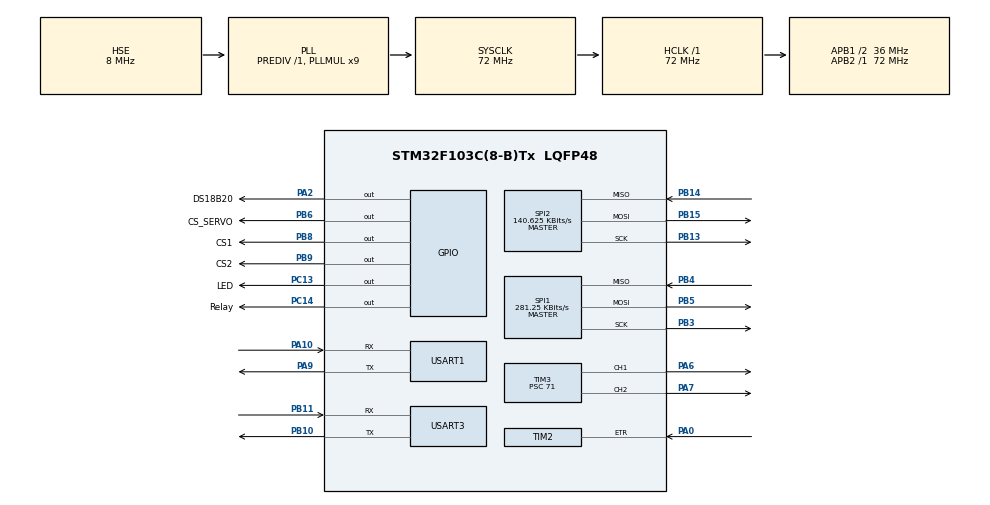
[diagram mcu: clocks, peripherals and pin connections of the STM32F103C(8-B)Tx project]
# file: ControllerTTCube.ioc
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FREERTOS.HEAP_NUMBER=1
FREERTOS.Tasks01=defaultTask,0,128,StartDefaultTask,Default,NULL,Dynamic,NULL,NULL;vHandlerTask,-2,256,Handler,Default,NULL,Dynamic,NULL,NULL;vTaskOpros,-2,512,Opros,Default,NULL,Dynamic,NULL,NULL;vTaskRasZasl,-2,128,Zasl,Default,NULL,Dynamic,NULL,NULL;vTaskVoda,-2,128,Voda,Default,NULL,Dynamic,NULL,NULL;vTaskTime,-2,128,Time,Default,NULL,Dynamic,NULL,NULL
FREERTOS.configTOTAL_HEAP_SIZE=10000
IWDG.Prescaler=IWDG_PRESCALER_64
Mcu.Family=STM32F1
Mcu.Name=STM32F103C(8-B)Tx
Mcu.Package=LQFP48
NVIC.PriorityGroup=NVIC_PRIORITYGROUP_4
NVIC.SPI1_IRQn=true\:5\:0\:false\:false\:true\:true\:true\:true
NVIC.TIM4_IRQn=true\:0\:0\:false\:false\:true\:false\:false\:true
NVIC.TimeBase=TIM4_IRQn
NVIC.TimeBaseIP=TIM4
NVIC.USART1_IRQn=true\:5\:0\:false\:false\:true\:true\:true\:true
PA0-WKUP.Signal=S_TIM2_CH1_ETR
PA10.Mode=Asynchronous
PA10.Signal=USART1_RX
PA13.Mode=Serial_Wire
PA13.Signal=SYS_JTMS-SWDIO
PA14.Mode=Serial_Wire
PA14.Signal=SYS_JTCK-SWCLK
PA2.GPIO_Label=DS18B20
PA2.GPIO_Speed=GPIO_SPEED_FREQ_HIGH
PA2.Signal=GPIO_Output
PA6.Signal=S_TIM3_CH1
PA7.Signal=S_TIM3_CH2
PA9.Mode=Asynchronous
PA9.Signal=USART1_TX
PB10.Mode=Asynchronous
PB10.Signal=USART3_TX
PB11.Mode=Asynchronous
PB11.Signal=USART3_RX
PB13.Mode=Full_Duplex_Master
PB13.Signal=SPI2_SCK
PB14.Mode=Full_Duplex_Master
PB14.Signal=SPI2_MISO
PB15.Mode=Full_Duplex_Master
PB15.Signal=SPI2_MOSI
PB3.Mode=Full_Duplex_Master
PB3.Signal=SPI1_SCK
PB4.Mode=Full_Duplex_Master
PB4.Signal=SPI1_MISO
PB5.Mode=Full_Duplex_Master
PB5.Signal=SPI1_MOSI
PB6.GPIO_Label=CS_SERVO
PB6.Signal=GPIO_Output
PB8.GPIO_Label=CS1
PB8.GPIO_Speed=GPIO_SPEED_FREQ_HIGH
PB8.Signal=GPIO_Output
PB9.GPIO_Label=CS2
PB9.GPIO_Speed=GPIO_SPEED_FREQ_HIGH
PB9.Signal=GPIO_Output
PC13-TAMPER-RTC.GPIO_Label=LED
PC13-TAMPER-RTC.Signal=GPIO_Output
PC14-OSC32_IN.GPIO_Label=Relay
PC14-OSC32_IN.GPIO_Speed=GPIO_SPEED_FREQ_HIGH
PC14-OSC32_IN.Signal=GPIO_Output
PD0-OSC_IN.Mode=HSE-External-Oscillator
PD0-OSC_IN.Signal=RCC_OSC_IN
PD1-OSC_OUT.Mode=HSE-External-Oscillator
PD1-OSC_OUT.Signal=RCC_OSC_OUT
ProjectManager.HeapSize=0x200
ProjectManager.StackSize=0x400
ProjectManager.TargetToolchain=MDK-ARM V5.27
RCC.AHBFreq_Value=72000000
RCC.APB1CLKDivider=RCC_HCLK_DIV2
RCC.APB1Freq_Value=36000000
RCC.APB1TimFreq_Value=72000000
RCC.APB2Freq_Value=72000000
RCC.APB2TimFreq_Value=72000000
RCC.HCLKFreq_Value=72000000
RCC.PLLMUL=RCC_PLL_MUL9
RCC.PLLSourceVirtual=RCC_PLLSOURCE_HSE
RCC.SYSCLKFreq_VALUE=72000000
RCC.SYSCLKSource=RCC_SYSCLKSOURCE_PLLCLK
RCC.USBFreq_Value=72000000
RTC.AutoPrediv=RTC_AUTO_1_SECOND
RTC.Format=RTC_FORMAT_BIN
RTC.OutPut=RTC_OUTPUTSOURCE_SECOND
SH.S_TIM2_CH1_ETR.0=TIM2_ETR,TriggerSource_ETR
SH.S_TIM3_CH1.0=TIM3_CH1,PWM Generation1 CH1
SH.S_TIM3_CH2.0=TIM3_CH2,PWM Generation2 CH2
SPI1.BaudRatePrescaler=SPI_BAUDRATEPRESCALER_256
SPI1.CalculateBaudRate=281.25 KBits/s
SPI1.DataSize=SPI_DATASIZE_8BIT
SPI1.Direction=SPI_DIRECTION_2LINES
SPI1.Mode=SPI_MODE_MASTER
SPI1.VirtualType=VM_MASTER
SPI2.BaudRatePrescaler=SPI_BAUDRATEPRESCALER_256
SPI2.CalculateBaudRate=140.625 KBits/s
SPI2.DataSize=SPI_DATASIZE_16BIT
SPI2.Direction=SPI_DIRECTION_2LINES
SPI2.Mode=SPI_MODE_MASTER
SPI2.VirtualType=VM_MASTER
TIM1.Period=0xFFFF
TIM1.Prescaler=71
TIM2.Period=6000
TIM3.Channel-PWM\ Generation1\ CH1=TIM_CHANNEL_1
TIM3.Channel-PWM\ Generation2\ CH2=TIM_CHANNEL_2
TIM3.Period=20000
TIM3.Prescaler=71
TIM3.Pulse-PWM\ Generation1\ CH1=1500
TIM3.Pulse-PWM\ Generation2\ CH2=1500
USART1.VirtualMode=VM_ASYNC
USART3.VirtualMode=VM_ASYNC
VP_FREERTOS_VS_CMSIS_V1.Mode=CMSIS_V1
VP_IWDG_VS_IWDG.Mode=IWDG_Activate
VP_RTC_VS_RTC_Activate.Mode=RTC_Enabled
VP_SYS_VS_tim4.Mode=TIM4
VP_TIM1_VS_ClockSourceINT.Mode=Internal
VP_TIM2_VS_ControllerModeClock.Mode=Clock Mode
board=custom

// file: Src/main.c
/* USER CODE BEGIN Header */
/**
  ******************************************************************************
  * @file           : main.c
  * @brief          : Main program body
  ******************************************************************************
  * @attention
  *
  * <h2><center>&copy; Copyright (c) 2021 STMicroelectronics.
  * All rights reserved.</center></h2>
  *
  * This software component is licensed by ST under Ultimate Liberty license
  * SLA0044, the "License"; You may not use this file except in compliance with
  * the License. You may obtain a copy of the License at:
  *                             www.st.com/SLA0044
  *
  ******************************************************************************
  */
/* USER CODE END Header */

#include "main.h"
#include "cmsis_os.h"
#include "iwdg.h"
#include "rtc.h"
#include "spi.h"
#include "tim.h"
#include "usart.h"
#include "gpio.h"

/* USER CODE BEGIN PM */
extern SPI_HandleTypeDef hspi1;
/* USER CODE END PM */

/* USER CODE BEGIN PV */
uint8_t send_data[2];
/* USER CODE END PV */

void SystemClock_Config(void);
void MX_FREERTOS_Init(void);

int main(void)
{

  /* MCU Configuration--------------------------------------------------------*/

  /* Reset of all peripherals, Initializes the Flash interface and the Systick. */
  HAL_Init();

  /* Configure the system clock */
  SystemClock_Config();

  /* Initialize all configured peripherals */
  MX_GPIO_Init();
  MX_SPI2_Init();
  MX_TIM2_Init();
  MX_TIM3_Init();
  MX_USART1_UART_Init();
  MX_USART3_UART_Init();
  MX_TIM1_Init();
  MX_IWDG_Init();
  MX_RTC_Init();
  MX_SPI1_Init();
  /* USER CODE BEGIN 2 */
	HAL_SPI_MspDeInit(&hspi2);
	HAL_UART_MspDeInit(&huart1);
	InitSPI();
	InitUSART1();
	BKP->RTCCR &= ~BKP_RTCCR_ASOE;
//	HAL_TIM_PWM_Start(&htim3, TIM_CHANNEL_1);
//	HAL_TIM_PWM_Start(&htim3, TIM_CHANNEL_2);
//	InitUSART3();
  /* USER CODE END 2 */

  /* Call init function for freertos objects (in freertos.c) */
  MX_FREERTOS_Init();
  /* Start scheduler */
  osKernelStart();

  /* We should never get here as control is now taken by the scheduler */
  /* Infinite loop */
  while (1)
  {

  }
}

void SystemClock_Config(void)
{
  RCC_OscInitTypeDef RCC_OscInitStruct = {0};
  RCC_ClkInitTypeDef RCC_ClkInitStruct = {0};
  RCC_PeriphCLKInitTypeDef PeriphClkInit = {0};

  /** Initializes the CPU, AHB and APB busses clocks
  */
  RCC_OscInitStruct.OscillatorType = RCC_OSCILLATORTYPE_LSI|RCC_OSCILLATORTYPE_HSE;
  RCC_OscInitStruct.HSEState = RCC_HSE_ON;
  RCC_OscInitStruct.HSEPredivValue = RCC_HSE_PREDIV_DIV1;
  RCC_OscInitStruct.HSIState = RCC_HSI_ON;
  RCC_OscInitStruct.LSIState = RCC_LSI_ON;
  RCC_OscInitStruct.PLL.PLLState = RCC_PLL_ON;
  RCC_OscInitStruct.PLL.PLLSource = RCC_PLLSOURCE_HSE;
  RCC_OscInitStruct.PLL.PLLMUL = RCC_PLL_MUL9;
  if (HAL_RCC_OscConfig(&RCC_OscInitStruct) != HAL_OK)
  {
    Error_Handler();
  }
  /** Initializes the CPU, AHB and APB busses clocks
  */
  RCC_ClkInitStruct.ClockType = RCC_CLOCKTYPE_HCLK|RCC_CLOCKTYPE_SYSCLK
                              |RCC_CLOCKTYPE_PCLK1|RCC_CLOCKTYPE_PCLK2;
  RCC_ClkInitStruct.SYSCLKSource = RCC_SYSCLKSOURCE_PLLCLK;
  RCC_ClkInitStruct.AHBCLKDivider = RCC_SYSCLK_DIV1;
  RCC_ClkInitStruct.APB1CLKDivider = RCC_HCLK_DIV2;
  RCC_ClkInitStruct.APB2CLKDivider = RCC_HCLK_DIV1;

  if (HAL_RCC_ClockConfig(&RCC_ClkInitStruct, FLASH_LATENCY_2) != HAL_OK)
  {
    Error_Handler();
  }
  PeriphClkInit.PeriphClockSelection = RCC_PERIPHCLK_RTC;
  PeriphClkInit.RTCClockSelection = RCC_RTCCLKSOURCE_LSI;
  if (HAL_RCCEx_PeriphCLKConfig(&PeriphClkInit) != HAL_OK)
  {
    Error_Handler();
  }
}

/* USER CODE BEGIN 4 */

float map(int x, int in_min, int in_max, int out_min, int out_max)
{
  return (x - in_min) * (out_max - out_min) / (in_max - in_min) + out_min;
}

int constrain(int x, int a, int b) {
	if(x > b) x = b;
	if(x < a) x = a;
	return x;
}

void setServo(uint8_t numServo, int angle) {

//	int angleMap = (int)(map(angle, 0, 180, AMPLITUDE, 2400));
	send_data[0] = numServo;
	send_data[1] = (uint8_t)angle;

	CS_SERVO_LOW
	HAL_SPI_Transmit(&hspi1, send_data, 2, 50);
	CS_SERVO_HIGH

//	if(numServo == 1) TIM3->CCR1 = (int)(map(angle, 0, 180, AMPLITUDE, 2400));
//	if(numServo == 2) TIM3->CCR2 = (int)(map(angle, 0, 180, AMPLITUDE, 2400));
}

void InitSPI (void){

		RCC->APB1ENR |= RCC_APB1ENR_SPI2EN;
	  RCC->APB2ENR |= RCC_APB2ENR_IOPBEN;
		RCC->APB2ENR |= RCC_APB2ENR_AFIOEN;

	  GPIOB->CRH &= ~GPIO_CRH_CNF13_0;                            // PB13 SCK - �����, �������������� ������� push-pull
	  GPIOB->CRH |= GPIO_CRH_CNF13_1;
	  GPIOB->CRH |= (GPIO_CRH_MODE13_0 | GPIO_CRH_MODE13_1);			// gpio speed 50 MHz

	  GPIOB->CRH &= ~GPIO_CRH_CNF8;                              // PB8 CS1 ����� push-sull
	  GPIOB->CRH |= (GPIO_CRH_MODE8_0 | GPIO_CRH_MODE8_1);			// gpio speed 50 MHz

		GPIOB->CRH &= ~GPIO_CRH_CNF9;                              // PB9 CS2 ����� push-sull
	  GPIOB->CRH |= (GPIO_CRH_MODE9_0 | GPIO_CRH_MODE9_1);			// gpio speed 50 MHz

	  GPIOB->CRH |= GPIO_CRH_CNF14_0;                              // PB14 MISO ���� Input Floating
	  GPIOB->CRH &= ~GPIO_CRH_MODE14;

    SPI2->CR1 |= (SPI_CR1_BR_2 | SPI_CR1_BR_1 | SPI_CR1_BR_0);   // br = 111  F/256
		SPI2->CR1 |= SPI_CR1_DFF;                                    // 16 bit data
		SPI2->CR1 &= ~SPI_CR1_LSBFIRST;                              // ������� ������ ������
		SPI2->CR1 |= (SPI_CR1_SSM | SPI_CR1_SSI);
		SPI2->CR1 |= SPI_CR1_MSTR;                                   // MASTER
		SPI2->CR1 |= SPI_CR1_SPE;                                    // SPI ��������
}

int ReadTempBunker (void){

		float T;
		uint16_t T1;
		CS1_LOW
		SPI2->DR = 0;
		while (!(SPI2->SR & SPI_SR_RXNE));
		T1 = SPI2->DR;
		T = T1>>5;						// 3
		CS1_HIGH
		T = ((T == 0) || (T > 2000)) ? 0 : T*1;
		return ((int)T);
}
int ReadTempRiser (void){

		float T;
	  uint16_t T1;
		uint16_t T2;
		CS2_LOW
		//while (!(SPI2->SR & SPI_SR_TXE))
	  SPI2->DR = 0;
    while (!(SPI2->SR & SPI_SR_RXNE));
		T1 = SPI2->DR;

	  SPI2->DR = 0;
		while (!(SPI2->SR & SPI_SR_RXNE));
	  T2 = SPI2->DR;
		T = T1>>4;						//2
	  CS2_HIGH
		T = ((T == 0) || (T > 4000)) ? 0 : T*1;
		return ((int)T);
}

void InitUSART1 (void){

	RCC->APB2ENR |= RCC_APB2ENR_USART1EN;
	RCC->APB2ENR |= RCC_APB2ENR_IOPAEN;
  RCC->APB2ENR |= RCC_APB2ENR_AFIOEN;

	GPIOA->CRH |= GPIO_CRH_CNF9_1;
	GPIOA->CRH |= GPIO_CRH_MODE9;

	GPIOA->CRH |= GPIO_CRH_CNF10_0;
	GPIOA->CRH &= ~GPIO_CRH_MODE10;

//	USART1->BRR = 0x1D4C;                      // 9600   468.75 F=72000000
	USART1->BRR = 0x271;											// 115200

	USART1->CR1 |= USART_CR1_TE;
	USART1->CR1 |= USART_CR1_RE;
	USART1->CR1 |= USART_CR1_UE;

	USART1->CR1 |= USART_CR1_RXNEIE;
	HAL_NVIC_SetPriority(USART1_IRQn, 5, 0);
	NVIC_EnableIRQ(USART1_IRQn);

}

void InitUSART3 (void){

	RCC->APB1ENR |= RCC_APB1ENR_USART3EN;
	RCC->APB2ENR |= RCC_APB2ENR_IOPBEN;
  RCC->APB2ENR |= RCC_APB2ENR_AFIOEN;

	GPIOB->CRH |= GPIO_CRH_CNF10_1;
	GPIOB->CRH |= GPIO_CRH_MODE10;

	GPIOB->CRH |= GPIO_CRH_CNF11_0;
	GPIOB->CRH &= ~GPIO_CRH_MODE11;

	USART3->BRR = 0x139;                      // 115200    19.53125     F=36000000

	USART3->CR1 |= USART_CR1_TE;
	USART3->CR1 |= USART_CR1_RE;
	USART3->CR1 |= USART_CR1_UE;

	USART3->CR1 |= USART_CR1_RXNEIE;
	//NVIC_EnableIRQ(USART3_IRQn);

}

void SendUSART1 (char chr){

	while (!(USART1->SR & USART_SR_TC));
	USART1->DR = chr;

}

void SendStringUSART1 (char* str){

	uint8_t i = 0;

	while(str[i])
	SendUSART1 (str[i++]);

}

void SendDataUSART1 (uint8_t data){

	while (!(USART1->SR & USART_SR_TC));
	USART1->DR = data;

}

void SendUSART3 (char chr){

	while (!(USART3->SR & USART_SR_TC));
	USART3->DR = chr;

}

void SendStringUSART3 (char* str){

	uint8_t i = 0;

	while(str[i])
	SendUSART3 (str[i++]);

}

void SendDataUSART3 (uint8_t data){
	while (!(USART3->SR & USART_SR_TC));
	USART3->DR = data;
}

void myDelay(int32_t delay) {
	for(int i = 0; i < delay; i++) {
		for(int j = 1; j < 10000; j++) {
		}
	}
}
/* USER CODE END 4 */

 /**
  * @brief  Period elapsed callback in non blocking mode
  * @note   This function is called  when TIM4 interrupt took place, inside
  * HAL_TIM_IRQHandler(). It makes a direct call to HAL_IncTick() to increment
  * a global variable "uwTick" used as application time base.
  * @param  htim : TIM handle
  * @retval None
  */
void HAL_TIM_PeriodElapsedCallback(TIM_HandleTypeDef *htim)
{
  if (htim->Instance == TIM4) {
    HAL_IncTick();
  }
}

void Error_Handler(void)
{
}

/************************ (C) COPYRIGHT STMicroelectronics *****END OF FILE****/

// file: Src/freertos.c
/* USER CODE BEGIN Header */
/**
  ******************************************************************************
  * File Name          : freertos.c
  * Description        : Code for freertos applications
  ******************************************************************************
  * @attention
  *
  * <h2><center>&copy; Copyright (c) 2021 STMicroelectronics.
  * All rights reserved.</center></h2>
  *
  * This software component is licensed by ST under Ultimate Liberty license
  * SLA0044, the "License"; You may not use this file except in compliance with
  * the License. You may obtain a copy of the License at:
  *                             www.st.com/SLA0044
  *
  ******************************************************************************
  */
/* USER CODE END Header */

#include "FreeRTOS.h"
#include "task.h"
#include "main.h"
#include "cmsis_os.h"

/* USER CODE BEGIN Includes */
#include "ds18b20.h"
#include "queue.h"
#include <stdio.h>
/* USER CODE END Includes */

/* USER CODE BEGIN PM */
extern UART_HandleTypeDef huart1;
extern UART_HandleTypeDef huart3;
extern IWDG_HandleTypeDef hiwdg;
extern RTC_HandleTypeDef hrtc;
RTC_TimeTypeDef timeS;
/* USER CODE END PM */

/* USER CODE BEGIN Variables */

float tempdeficite;
float RizerDiff;
float spid;
float Pod;									// pod
float PodOld = 0;
float dPod;
int Riser, RiserNotFiltred;
int RiserOld;
int dRiser;
int Bunker, BunkerNotFiltred;
int BunkerOld;
int dBunker;

int workservoprim, workservoprimOld;
float servoprim_speed = 0.25;
float Obr;									// obratka
int TempPodProm;					// temp prom
int TrebTempPod = 0;
int servosec, servosecOld;
int servoprim;
int preservoprim;
int D_preservoprim;
int P_preservoprim;
float Rashod;																// ������ ���� � ������� (�/���)
float Power;																// ���������� �������� ����� (��)
uint32_t worktime = 0;
uint8_t waterFlag = 0;
uint8_t bunkerFlag = 0;
uint8_t manualControl;
uint8_t	SOS;
//int BunkerNoFiltr, RiserNoFiltr;
char str[30];
char * pstr = &str[0];
uint8_t runTask1, runTask2, runTask3, runTask4, runTask5;

struct {
char Pod[4];
char Obr[4];
char Riser[4];
char Bunker[4];
char Rashod[4];
char Power[5];
char i1[3];
char i2[3];
char TrebTempPod[2];
char strtime[8];
char SOS[3];
} String;
char * pString = &String.Pod[0];

/* USER CODE END Variables */
osThreadId defaultTaskHandle;
osThreadId vHandlerTaskHandle;
osThreadId vTaskOprosHandle;
osThreadId vTaskRasZaslHandle;
osThreadId vTaskVodaHandle;
osThreadId vTaskTimeHandle;

/* USER CODE BEGIN FunctionPrototypes */
   xQueueHandle FromNextion;
/* USER CODE END FunctionPrototypes */

void StartDefaultTask(void const * argument);
void Handler(void const * argument);
void Opros(void const * argument);
void Zasl(void const * argument);
void Voda(void const * argument);
void Time(void const * argument);

void MX_FREERTOS_Init(void); /* (MISRA C 2004 rule 8.1) */

/* GetIdleTaskMemory prototype (linked to static allocation support) */
void vApplicationGetIdleTaskMemory( StaticTask_t **ppxIdleTaskTCBBuffer, StackType_t **ppxIdleTaskStackBuffer, uint32_t *pulIdleTaskStackSize );

/* USER CODE BEGIN GET_IDLE_TASK_MEMORY */
static StaticTask_t xIdleTaskTCBBuffer;
static StackType_t xIdleStack[configMINIMAL_STACK_SIZE];

void vApplicationGetIdleTaskMemory( StaticTask_t **ppxIdleTaskTCBBuffer, StackType_t **ppxIdleTaskStackBuffer, uint32_t *pulIdleTaskStackSize )
{
  *ppxIdleTaskTCBBuffer = &xIdleTaskTCBBuffer;
  *ppxIdleTaskStackBuffer = &xIdleStack[0];
  *pulIdleTaskStackSize = configMINIMAL_STACK_SIZE;
  /* place for user code */
}
/* USER CODE END GET_IDLE_TASK_MEMORY */

void MX_FREERTOS_Init(void) {

  /* USER CODE BEGIN RTOS_QUEUES */
  FromNextion = xQueueCreate(1, sizeof(uint8_t));
  /* USER CODE END RTOS_QUEUES */

  /* Create the thread(s) */
  /* definition and creation of defaultTask */
  osThreadDef(defaultTask, StartDefaultTask, osPriorityNormal, 0, 128);
  defaultTaskHandle = osThreadCreate(osThread(defaultTask), NULL);

  /* definition and creation of vHandlerTask */
  osThreadDef(vHandlerTask, Handler, osPriorityLow, 0, 256);
  vHandlerTaskHandle = osThreadCreate(osThread(vHandlerTask), NULL);

  /* definition and creation of vTaskOpros */
  osThreadDef(vTaskOpros, Opros, osPriorityLow, 0, 512);
  vTaskOprosHandle = osThreadCreate(osThread(vTaskOpros), NULL);

  /* definition and creation of vTaskRasZasl */
  osThreadDef(vTaskRasZasl, Zasl, osPriorityLow, 0, 128);
  vTaskRasZaslHandle = osThreadCreate(osThread(vTaskRasZasl), NULL);

  /* definition and creation of vTaskVoda */
  osThreadDef(vTaskVoda, Voda, osPriorityLow, 0, 128);
  vTaskVodaHandle = osThreadCreate(osThread(vTaskVoda), NULL);

  /* definition and creation of vTaskTime */
  osThreadDef(vTaskTime, Time, osPriorityLow, 0, 128);
  vTaskTimeHandle = osThreadCreate(osThread(vTaskTime), NULL);

}

void StartDefaultTask(void const * argument)
{
  /* USER CODE BEGIN StartDefaultTask */
	TrebTempPod = BKP->DR1;
	if (TrebTempPod == 0) {
		TrebTempPod = 65;
		BKP->DR1 = TrebTempPod;
	}
	int servoptimFiltr, servosecFiltr;
  /* Infinite loop */

  for(;;)
  {
		if(runTask1 && runTask2 && runTask4 && runTask5) { // runTask3
			HAL_IWDG_Refresh(&hiwdg);
			runTask1 = 0;
			runTask2 = 0;
			runTask3 = 0;
			runTask4 = 0;
			runTask5 = 0;
		}
//		Bunker = (int)((1-0.3) * Bunker + 0.3 * BunkerNoFiltr);
		osDelay(SECOND);
		if(manualControl == 0) {
			servoptimFiltr = (int)((1-0.3) * servoptimFiltr + 0.3 * workservoprim);
			setServo(1, servoptimFiltr);
			osDelay(SECOND);
			servosecFiltr = (int)((1-0.3) * servosecFiltr + 0.3 * servosec);
			setServo(2, servosecFiltr);
		}
	}
  /* USER CODE END StartDefaultTask */
}

void Handler(void const * argument)
{
  /* USER CODE BEGIN Handler */
	uint8_t comand;
  /* Infinite loop */
  for(;;)
  {
		if (uxQueueMessagesWaiting(FromNextion) != 0){
			xQueueReceive(FromNextion, &comand, 1);
			if(comand == 0xAA) BKP->DR1 = ++TrebTempPod;
			if(comand == 0xCC) BKP->DR1 = --TrebTempPod;
			if(comand == 0xBB) {
//				worktime = 0;
				timeS.Hours = 0;
				timeS.Minutes = 0;
				timeS.Seconds = 0;
				HAL_RTC_SetTime(&hrtc, &timeS, RTC_FORMAT_BIN);
				BKP->DR2 = 1; 																			// set combustion mode to 1
			}
			if(comand == 0xDD) manualControl = 1;
			if(comand == 0xEE) manualControl = 0;
			if((comand == 0xE1) && (manualControl == 1)) {
				workservoprim += 10;
				workservoprim = constrain(workservoprim, 0, 180);
				setServo(1, workservoprim);
			}
			if((comand == 0xE2) && (manualControl == 1)) {
				workservoprim -= 10;
				workservoprim = constrain(workservoprim, 0, 180);
				setServo(1, workservoprim);
			}
			if((comand == 0xE3) && (manualControl == 1)) {
				servosec += 10;
				servosec = constrain(servosec, 0, 180);
				setServo(2, servosec);
			}
			if((comand == 0xE4) && (manualControl == 1)) {
				servosec -= 10;
				servosec = constrain(servosec, 0, 180);
				setServo(2, servosec);
			}
		}
		runTask1 = 1;
    osDelay(100);
  }
  /* USER CODE END Handler */
}

void Opros(void const * argument)
{
  /* USER CODE BEGIN Opros */
	Ds18b20_Init(osPriorityRealtime);
	uint8_t nasosFlag = 1;
	NASOS_ON;
	float tmp;
  /* Infinite loop */
  for(;;)
  {

//		Pod = (!ds18b20[0].DataIsValid) ? 0 : ds18b20[0].Temperature;             	// get t from sensor 1
//		Obr = (!ds18b20[1].DataIsValid) ? 0 : ds18b20[1].Temperature;             	// get t from sensor 2

   	tmp = (!ds18b20[0].DataIsValid) ? 0 : ds18b20[0].Temperature;             	// get t from sensor 1
		Pod = (tmp == 0) ? Pod : tmp;
    tmp = (!ds18b20[1].DataIsValid) ? 0 : ds18b20[1].Temperature;             	// get t from sensor 2
		Obr = (tmp == 0) ? Obr : tmp;

		if((Pod >= 1) && (Pod <= 60) && (nasosFlag == 1)) {
			NASOS_OFF;
			nasosFlag = 0;
		}
		if((Pod >= 1) && (Pod >= 61) && (nasosFlag == 0)) {
			NASOS_ON;
			nasosFlag = 1;
		}
		if(Pod < 1) {
			NASOS_ON;
			nasosFlag = 1;
		}
		RiserNotFiltred = ReadTempRiser();
		Riser = (int)((1-0.3) * Riser + 0.3 * RiserNotFiltred);
		GPIOC->ODR ^= GPIO_ODR_ODR13;
		osDelay(SECOND);

	  BunkerNotFiltred = ReadTempBunker();
		Bunker = (int)((1-0.3) * Bunker + 0.3 * BunkerNotFiltred);
		GPIOC->ODR ^= GPIO_ODR_ODR13;
		osDelay(SECOND);

//		Power = 4.2 * Rashod * 60 * (Pod - Obr);
		Power = (Pod - Obr) * Rashod * 60 * 1.16 / 1000;

		runTask2 = 1;
  }
  /* USER CODE END Opros */
}

void Zasl(void const * argument)
{
  /* USER CODE BEGIN Zasl */

  /* Infinite loop */
  for(;;)
  {
		if(manualControl == 0) {

			dRiser = (RiserOld == 0) ? 0 : (Riser - RiserOld);
			RiserOld = Riser;
			P_preservoprim = workservoprim;

			calcPrimary();
			calcSecondary();

			osDelay(SECOND * 5);

			USART1->CR1 &= ~USART_CR1_TE;												// ��������� ���������� USART
			USART1->CR1 |= USART_CR1_TE;												// �������� ���������� USART
		}
		else {
			osDelay(SECOND);
		}
		runTask3 = 1;
  }
  /* USER CODE END Zasl */
}

void Voda(void const * argument)
{
  /* USER CODE BEGIN Voda */
	float tic;
  /* Infinite loop */
  for(;;)
  {
		TIM2->CR1 |= TIM_CR1_CEN;
		osDelay(SECOND);
		TIM2->CR1 &= ~TIM_CR1_CEN;
		tic = TIM2->CNT;
		Rashod = tic / 5.5;
		TIM2->CNT = 0;
		runTask4 = 1;
  }
  /* USER CODE END Voda */
}

void Time(void const * argument)
{
  /* USER CODE BEGIN Time */
	uint32_t worktimeOld;
  /* Infinite loop */
  for(;;)
  {
		HAL_RTC_GetTime(&hrtc, &timeS, RTC_FORMAT_BIN);
		worktime = (uint32_t)(((uint32_t)timeS.Hours * 3600U) + \
                          ((uint32_t)timeS.Minutes * 60U) + \
                          ((uint32_t)timeS.Seconds));
		if((worktime != worktimeOld)) {
			inNextion();
		}
		if(((worktime % 60) == 0) && (worktime != worktimeOld)) {
			dPod = (PodOld == 0) ? 0 : (Pod - PodOld);
      PodOld = Pod;
			waterFlag = 1;
			BunkerStatus();
		}
		if(((worktime % 300) == 0) && (worktime != worktimeOld)) {
			dBunker = (BunkerOld == 0) ? 0 : (Bunker - BunkerOld);
      BunkerOld = Bunker;
			bunkerFlag = 1;
		}
		if(((worktime % 10) == 0) && (worktime != worktimeOld)) {
			inESP();
		}
		worktimeOld = worktime;
		runTask5 = 1;
		osDelay(SECOND);
  }
  /* USER CODE END Time */
}

/* USER CODE BEGIN Application */
void inNextion (void) {
	uint8_t i = 0;

	sprintf(String.strtime,"%02d:%02d:%02d", timeS.Hours, timeS.Minutes, timeS.Seconds);

	sprintf(str, "page0.t8.txt=\"%.1f\"���", Pod);
	SendStringUSART1(str);
	for (i = 20; i < 30; i++) str[i] = '4';

	sprintf(str, "page0.t9.txt=\"%.1f\"���", Obr);
	SendStringUSART1(str);
	for (i = 20; i < 30; i++) str[i] = '4';

	sprintf(str, "page0.t10.txt=\"%d\"���", Riser);
	SendStringUSART1(str);
	for (i = 20; i < 30; i++) str[i] = '4';

	sprintf(str, "page0.t11.txt=\"%d\"���", Bunker);
	SendStringUSART1(str);
	for (i = 20; i < 30; i++) str[i] = '4';

	sprintf(str, "page0.t13.txt=\"%.1f\"���", Rashod);
	SendStringUSART1(str);
	for (i = 20; i < 30; i++) str[i] = '4';

	sprintf(str, "page0.t12.txt=\"%.1f\"���", Power);
	SendStringUSART1(str);
	for (i = 20; i < 30; i++) str[i] = '4';

	sprintf(str, "page0.t15.txt=\"%3d\"���", workservoprim);
	SendStringUSART1(str);
	for (i = 20; i < 30; i++) str[i] = '4';

	sprintf(str, "page0.t17.txt=\"%3d\"���", servosec);
	SendStringUSART1(str);
	for (i = 20; i < 30; i++) str[i] = '4';

	sprintf(str, "page1.t2.txt=\"%3d\"���", workservoprim);
	SendStringUSART1(str);
	for (i = 20; i < 30; i++) str[i] = '4';

	sprintf(str, "page1.t3.txt=\"%3d\"���", servosec);
	SendStringUSART1(str);
	for (i = 20; i < 30; i++) str[i] = '4';

	sprintf(str, "page1.t1.txt=\"%2d\"���", TrebTempPod);
	SendStringUSART1(str);
	for (i = 20; i < 30; i++) str[i] = '4';

	sprintf(str, "page0.t1.txt=\"%s\"���", String.strtime);
	SendStringUSART1(str);
	for (i = 20; i < 30; i++) str[i] = '4';

}

/******************************************************************************** 80293381743 slava*/
void inESP (void){
	uint8_t mask[1];

	mask[0] = 'W';
	if(SOS == 1) {
		String.SOS[0] = 'S';
		String.SOS[1] = 'O';
		String.SOS[2] = 'S';
	}
	else {
		String.SOS[0] = '0';
		String.SOS[1] = '0';
		String.SOS[2] = '0';
	}

	taskENTER_CRITICAL();
	sprintf(String.Pod, "%.1f", Pod);
	sprintf(String.Obr, "%.1f", Obr);
	sprintf(String.Riser, "%d", Riser);
	sprintf(String.Bunker, "%d", Bunker);
	sprintf(String.Rashod, "%.1f", Rashod);
	sprintf(String.Power, "%.1f", Power);
	taskEXIT_CRITICAL();

	HAL_UART_Transmit(&huart3, mask, 1, 50);
	HAL_UART_Transmit(&huart3, (uint8_t*)String.Pod, 4, 50);
	HAL_UART_Transmit(&huart3, (uint8_t*)String.Obr, 4, 50);
	HAL_UART_Transmit(&huart3, (uint8_t*)String.Riser, 4, 50);
	HAL_UART_Transmit(&huart3, (uint8_t*)String.Bunker, 4, 50);
	HAL_UART_Transmit(&huart3, (uint8_t*)String.Rashod, 4, 50);
	HAL_UART_Transmit(&huart3, (uint8_t*)String.Power, 5, 50);
	HAL_UART_Transmit(&huart3, (uint8_t*)String.strtime, 8, 50);
	HAL_UART_Transmit(&huart3, (uint8_t*)String.SOS, 3, 50);
	mask[0] = 'Q';
	HAL_UART_Transmit(&huart3, mask, 1, 50);
}

uint8_t BunkerStatus (void){
//	SOS = ((worktime > 14400) && (Bunker < 480) && (Bunker < BunkerOld) && (Riser/Bunker < 1.04)) ? 1 : 0;
	SOS = 0;
	return SOS;
}

void calcPrimary(void) {
uint32_t mode;
	mode = BKP->DR2;
	workservoprim = BKP->DR3;
	if(mode == 0) mode = 1;

	if((dRiser > 15) && (Riser > 680)) {
		workservoprim = 0;
		setServo(1, workservoprim);
		osDelay(20 * SECOND);
		return;
	}

	switch(mode) {
		case 1: {																																	// sushka
			workservoprim = (Riser < 900) ? 180 : 0;
			if(dBunker > 1) {
				BKP->DR2 = 2;
				workservoprim = 90;
				setServo(1, workservoprim);
				osDelay(20 * SECOND);
			}
			break;
		}
		case 2: {																																		// razgon do 700
			if(dRiser >= 8) workservoprim -= dRiser * 3;
			if(dRiser < 0) workservoprim -= dRiser * 3;
			if(dRiser == 0) workservoprim += 5;
			if(Riser >= 750) BKP->DR2 = 3;
			break;
		}
		case 3: {																																	// piroliz
			if((Riser > 700) && (Riser < 850)) workservoprim -= dRiser * 3;
			if(Riser < 700) BKP->DR2 = 2;
			if(Riser > 850) workservoprim = 0;
			break;
		}
	}
	workservoprim = (int)constrain(workservoprim, 0, 180);
	BKP->DR3 = workservoprim;
}

void calcSecondary(void) {

//	if (RiserOld < Riser)		RizerDiff = RizerDiff + (Riser - RiserOld);
//	if (RiserOld > Riser)		RizerDiff = RizerDiff - (RiserOld - Riser);
//	RizerDiff = constrain (RizerDiff, 2, 180);

	if (Riser <= 450) 	servosec = 0;
	if (Riser > 450 && Riser <= 500) servosec = 60;
	if (Riser > 500 && Riser <= 600) servosec = 100;
	if (Riser > 600 && Riser <= 700) servosec = 150;
	if (Riser > 700) servosec = 180;

//	if (Riser > 450 && Riser <= 500) {
//		servosec = (map ( RizerDiff, 2, 180, 5, 180) + map ( Riser, 450, 500, 5, 80)) / 2;
//	}
//	if (Riser > 500 && Riser <= 600) {
//		servosec = (map ( RizerDiff, 2, 180, 60, 180) + map ( Riser, 500, 600, 60, 120)) / 2;
//	}
//	if (Riser > 600 && Riser <= 800) {
//		servosec = (map ( RizerDiff, 2, 180, 100, 180) + map ( Riser, 600, 800, 100, 160)) / 2;
//	}
//	if (Riser > 800) {
//		servosec = (map ( RizerDiff, 2, 180, 160, 180) + map ( Riser, 800, 1020, 160, 180)) / 2;
//	}

	servosec = constrain (servosec, 0, 180);
}

/* USER CODE END Application */

/************************ (C) COPYRIGHT STMicroelectronics *****END OF FILE****/
